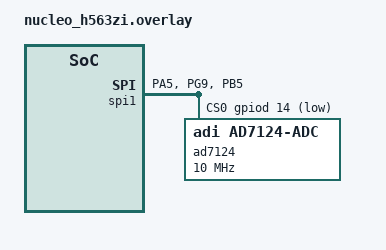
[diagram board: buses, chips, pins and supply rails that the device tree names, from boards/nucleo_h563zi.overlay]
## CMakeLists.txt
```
cmake_minimum_required(VERSION 3.20.0)
find_package(Zephyr REQUIRED HINTS $ENV{ZEPHYR_BASE})
project(ad7124_temp_reader)

target_sources(app PRIVATE src/main.cpp)

# Set C++ standard to what Zephyr supports
set_property(TARGET app PROPERTY CXX_STANDARD 11)
set_property(TARGET app PROPERTY CXX_STANDARD_REQUIRED ON)
```

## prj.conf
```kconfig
CONFIG_SPI=y
CONFIG_ADC=y
CONFIG_ADC_AD7124=y
CONFIG_CPP=y
CONFIG_LOG=y
CONFIG_LOG_DEFAULT_LEVEL=3
CONFIG_CBPRINTF_FP_SUPPORT=y
CONFIG_MAIN_STACK_SIZE=4096
```

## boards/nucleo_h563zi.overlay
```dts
&pinctrl {
    spi1_pa5_sck:  spi1_pa5_sck  { pinmux = <STM32_PINMUX('A', 5, AF5)>; };
    spi1_pg9_miso: spi1_pg9_miso { pinmux = <STM32_PINMUX('G', 9, AF5)>; bias-pull-up; };
    spi1_pb5_mosi: spi1_pb5_mosi { pinmux = <STM32_PINMUX('B', 5, AF5)>; };
};

&spi1 {
    status = "okay";
    pinctrl-0 = <&spi1_pa5_sck &spi1_pg9_miso &spi1_pb5_mosi>;
    pinctrl-names = "default";

    /* CS line */
    cs-gpios = <&gpiod 14 GPIO_ACTIVE_LOW>;

    ad7124: ad7124@0 {
        compatible = "adi,ad7124-adc";
        status = "okay";
        reg = <0>;
        spi-max-frequency = <10000000>;
        spi-cpol;
        spi-cpha;
        active-device = <1>;
        #address-cells = <1>;
        #size-cells = <0>;
        #io-channel-cells = <1>;
    };
};
```

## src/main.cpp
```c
#include <zephyr/kernel.h>
#include <zephyr/device.h>
#include <zephyr/devicetree.h>
#include <zephyr/drivers/spi.h>
#include <zephyr/drivers/i2c.h>
#include <zephyr/logging/log.h>
#include <stdint.h>
#include <string.h>

LOG_MODULE_REGISTER(ad7124, LOG_LEVEL_INF);

/* DT: &spi1 { cs-gpios = <&gpiod 14 GPIO_ACTIVE_LOW>;
 *       ad7124: ad7124@0 { spi-cpol; spi-cpha; reg=<0>; }; }
 */
#define AD7124_NODE DT_NODELABEL(ad7124)

/* SPI spec from DT (8-bit, MSB, MODE3, driver-managed CS) */
static const struct spi_dt_spec bus =
    SPI_DT_SPEC_GET(AD7124_NODE,
                    SPI_WORD_SET(8) | SPI_TRANSFER_MSB | SPI_MODE_CPOL | SPI_MODE_CPHA, 0);

/* AD7124 registers used */
enum : uint8_t {
    REG_COMMS        = 0x00,
    REG_ADC_CONTROL  = 0x01,
    REG_DATA         = 0x02,
    REG_IO_CONTROL_2 = 0x04,
    REG_ID           = 0x05,
    REG_CHANNEL_0    = 0x09,
    REG_CONFIG_0     = 0x19,
    REG_FILTER0      = 0x21,
};

// ADI "no-shift" read command (R/W=1 at bit6, 6-bit addr)
static inline uint8_t cmd_read(uint8_t addr) { return (uint8_t)(0x40u | (addr & 0x3Fu)); }

/* ---- SPI helpers ---- */
static bool rd(uint8_t reg, uint8_t *dst, size_t n) {
    uint8_t tx[4] = { cmd_read(reg), 0xFF, 0xFF, 0xFF };
    uint8_t rx[4] = { 0 };
    struct spi_buf txb = { .buf = tx, .len = (uint32_t)(1 + n) };
    struct spi_buf rxb = { .buf = rx, .len = (uint32_t)(1 + n) };
    struct spi_buf_set TX = { .buffers = &txb, .count = 1 };
    struct spi_buf_set RX = { .buffers = &rxb, .count = 1 };
    if (spi_transceive_dt(&bus, &TX, &RX) != 0) return false;
    memcpy(dst, &rx[1], n);
    return true;
}
static bool rd8 (uint8_t reg, uint8_t  &v) { return rd(reg, &v, 1); }
static bool rd16(uint8_t reg, uint16_t &v) {
    uint8_t b[2] = {0,0};
    if (!rd(reg, b, 2)) return false;
    v = ((uint16_t)b[0] << 8) | b[1];  // device sends MSB first
    return true;
}
static bool rd24(uint8_t reg, uint32_t &v) {
    uint8_t b[3] = {0,0,0};
    if (!rd(reg, b, 3)) return false;
    v = ((uint32_t)b[0] << 16) | ((uint32_t)b[1] << 8) | b[2];
    return true;
}

// simple writes
static bool wr(uint8_t reg, const uint8_t* data, size_t n) {
    uint8_t hdr = (uint8_t)(0x00u | (reg & 0x7Fu)); // write, no-shift
    struct spi_buf seg[2] = {
        { .buf = &hdr,         .len = 1 },
        { .buf = (void*)data,  .len = (uint32_t)n }
    };
    struct spi_buf_set TX = { .buffers = seg, .count = 2 };
    return spi_write_dt(&bus, &TX) == 0;
}
static bool wr16(uint8_t reg, uint16_t v) {
    uint8_t b[2] = { (uint8_t)(v >> 8), (uint8_t)v };
    return wr(reg, b, 2);
}
static bool wr24(uint8_t reg, uint32_t v) {
    uint8_t b[3] = { (uint8_t)(v >> 16), (uint8_t)(v >> 8), (uint8_t)v };
    return wr(reg, b, 3);
}

// soft reset = 64 ones
static void soft_reset() {
    uint8_t ff[8];
    memset(ff, 0xFF, sizeof ff);
    struct spi_buf txb = { .buf = ff, .len = sizeof ff };
    struct spi_buf_set TX = { .buffers = &txb, .count = 1 };
    (void)spi_write_dt(&bus, &TX);
}

// poll RDY bit in STATUS (bit7 == 0 => ready)
static bool wait_ready_ms(int timeout_ms) {
    uint8_t st = 0xFF;
    while (timeout_ms-- > 0) {
        if (rd8(REG_COMMS, st) && ((st & 0x80u) == 0)) return true;
        k_msleep(1);
    }
    return false;
}

// ---- configuration for on-chip temperature sensor ----
// Channel 0: AINP=16 (Temp sensor), AINM=17 (AVSS)
// CONFIG_0:
//   bipolar=1, input & reference buffers ON, REF_SEL=internal 2.5V, PGA=1
// FILTER0: SINC3 setting (works, can tweak later for speed/noise)
static bool config_temp() {
    if (!wr16(REG_IO_CONTROL_2, 0x0000)) return false;  // reset

    // ADC_CONTROL: REF_EN=1 (bit8), POWER_MODE=full (7:6=0), MODE=continuous (5:2=0)
    const uint16_t ADC_CTRL = (1u<<8) | (0u<<6) | (0u<<2);
    if (!wr16(REG_ADC_CONTROL, ADC_CTRL)) return false;

    // CONFIG_0 fields (datasheet-defined positions)
    const uint16_t CONFIG0 =
        (1u<<11) |               // bipolar = 1
        (1u<<8)  | (1u<<7) |     // REF buffer pos/neg
        (1u<<6)  | (1u<<5) |     // AIN buffer pos/neg
        (0b10u<<3) |             // REF_SEL = 0b10 (internal 2.5V)
        (0u);                    // PGA = 1 (gain=1)
    if (!wr16(REG_CONFIG_0, CONFIG0)) return false;

    // FILTER0 (setup0): SINC3 with a reasonable FS
    (void)wr24(REG_FILTER0, 0x060180);

    // CHANNEL_0: enable, setup0, AINP=16 (Temp), AINM=17 (AVSS)
    const uint16_t CH0 = (1u<<15) | (0u<<12) | (16u<<5) | 17u;
    if (!wr16(REG_CHANNEL_0, CH0)) return false;

    // let the digital filter settle one frame
    k_msleep(5);
    return true;
}


// raw offset-binary and subtract mid-scale
static inline double code_to_celsius(uint32_t code24) {
    uint32_t code = (code24 & 0xFFFFFFu);
    int32_t delta = (int32_t)code - 8388608;   // 0x800000
    return ((double)delta / 13584.0) - 272.5;
}

extern "C" int main(void) {
    LOG_INF("AD7124 on-chip temperature controller");

    if (!device_is_ready(bus.bus)) {
        LOG_ERR("SPI bus not ready");
        return 0;
    }
    if (bus.config.cs.gpio.port && !device_is_ready(bus.config.cs.gpio.port)) {
        LOG_ERR("CS GPIO not ready");
        return 0;
    }

    soft_reset();
    k_msleep(3);
    if (!config_temp()) { 
        LOG_ERR("Temp-path config failed");
        return 0;
    }

    // read back key regs to verify what latched
    uint16_t cfg=0, ch0=0, adc=0;
    (void)rd16(REG_CONFIG_0, cfg);
    (void)rd16(REG_CHANNEL_0, ch0);
    (void)rd16(REG_ADC_CONTROL, adc);
    LOG_INF("CFG0=0x%04x CH0=0x%04x ADC_CTRL=0x%04x",
            (unsigned)cfg, (unsigned)ch0, (unsigned)adc);

    LOG_INF("Waiting for first ready...");
    if (!wait_ready_ms(1000)) {
        LOG_WRN("Timeout waiting for RDY=0; will still try reading");
    }

    while (1) {
        if (!wait_ready_ms(500)) {
            LOG_WRN("Not ready");
        }
        uint32_t code = 0;
        if (rd24(REG_DATA, code)) {
            double tC = code_to_celsius(code & 0xFFFFFFu);
            LOG_INF("DATA=0x%06x  Temp≈%.2f °C", (unsigned)(code & 0xFFFFFFu), tC);
        } else {
            LOG_WRN("DATA read failed");
        }
        k_msleep(3000);
    }
}
```
